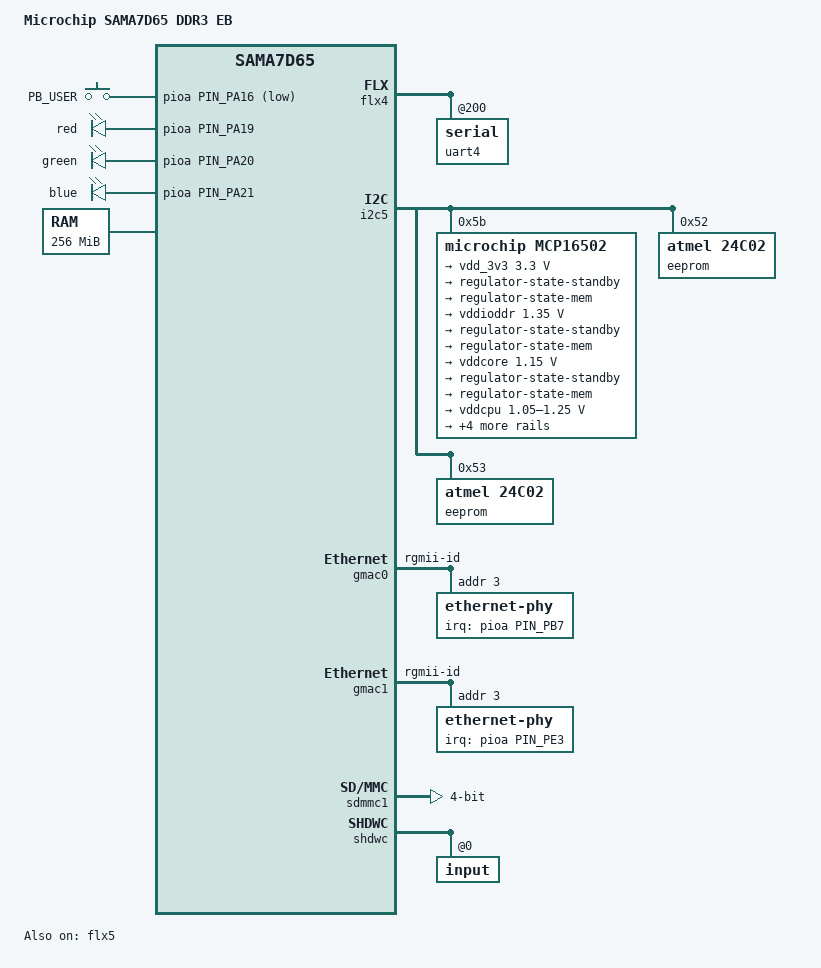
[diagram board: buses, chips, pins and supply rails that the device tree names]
// SPDX-License-Identifier: (GPL-2.0+ OR MIT)
/*
 *  at91-sama7d65eb.dts - Device Tree file for SAMA7D65EB board
 *
 *  Copyright (c) 2024 Microchip Technology Inc. and its subsidiaries
 */
/dts-v1/;
#include "sama7d65-pinfunc.h"
#include "sama7d65.dtsi"
#include <dt-bindings/mfd/atmel-flexcom.h>
#include <dt-bindings/input/input.h>
#include <dt-bindings/pinctrl/at91.h>
#include <dt-bindings/sound/microchip,pdmc.h>

/ {
	model = "Microchip SAMA7D65 DDR3 EB";
	compatible = "microchip,sama7d65-ddr3-eb", "microchip,sama7d65", "microchip,sama7";

	chosen {
		stdout-path = "serial0:115200n8";
	};

	aliases {
		serial0 = &uart4;
		i2c1 = &i2c5;
	};

	clocks {
		slow_xtal {
			clock-frequency = <32768>;
		};

		main_xtal {
			clock-frequency = <24000000>;
		};
	};

	gpio-keys {
		compatible = "gpio-keys";

		pinctrl-names = "default";
		pinctrl-0 = <&pinctrl_key_gpio_default>;

		button {
				label = "PB_USER";
				gpios = <&pioa PIN_PA16 GPIO_ACTIVE_LOW>;
				linux,code = <KEY_0>;
				wakeup-source;
		};
	};

	leds {
		compatible = "gpio-leds";
		pinctrl-names = "default";
		pinctrl-0 = <&pinctrl_led_gpio_default>;
		status = "okay"; /* Conflict with pwm. */

		red_led {
			label = "red";
			gpios = <&pioa PIN_PA19 GPIO_ACTIVE_HIGH>;
		};

		green_led {
			label = "green";
			gpios = <&pioa PIN_PA20 GPIO_ACTIVE_HIGH>;
		};

		blue_led {
			label = "blue";
			gpios = <&pioa PIN_PA21 GPIO_ACTIVE_HIGH>;
			linux,default-trigger = "heartbeat";
		};
	};

	memory@60000000 {
		device_type = "memory";
		reg = <0x60000000 0x10000000>;
	};
};

&cpu0 {
	cpu-supply = <&vddcpu>;
};

&dma0 {
	status = "okay";
};

&dma1 {
	status = "okay";
};

&dma2 {
	status = "okay";
};

&flx4 {
	atmel,flexcom-mode = <ATMEL_FLEXCOM_MODE_USART>;
	status = "okay";

	uart4: serial@200 {
		pinctrl-names = "default";
		pinctrl-0 = <&pinctrl_flx4_default>;
		status = "okay";
	};
};

&flx5 {
	atmel,flexcom-mode = <ATMEL_FLEXCOM_MODE_TWI>;
	status = "okay";

	i2c5: i2c@600 {
		pinctrl-names = "default";
		pinctrl-0 = <&pinctrl_i2c5_default>;
		i2c-analog-filter;
		i2c-digital-filter;
		i2c-digital-filter-width-ns = <35>;
		status = "okay";

		mcp16502@5b {
			compatible = "microchip,mcp16502";
			reg = <0x5b>;
			status = "okay";

			regulators {
				vdd_3v3: VDD_IO {
					regulator-name = "VDD_IO";
					regulator-min-microvolt = <3300000>;
					regulator-max-microvolt = <3300000>;
					regulator-initial-mode = <2>;
					regulator-allowed-modes = <2>, <4>;
					regulator-always-on;

					regulator-state-standby {
						regulator-on-in-suspend;
						regulator-suspend-microvolt = <3300000>;
						regulator-mode = <4>;
					};

					regulator-state-mem {
						regulator-off-in-suspend;
						regulator-mode = <4>;
					};
				};

				vddioddr: VDD_DDR {
					regulator-name = "VDD_DDR";
					regulator-min-microvolt = <1350000>;
					regulator-max-microvolt = <1350000>;
					regulator-initial-mode = <2>;
					regulator-allowed-modes = <2>, <4>;
					regulator-always-on;

					regulator-state-standby {
						regulator-on-in-suspend;
						regulator-suspend-microvolt = <1350000>;
						regulator-mode = <4>;
					};

					regulator-state-mem {
						regulator-on-in-suspend;
						regulator-suspend-microvolt = <1350000>;
						regulator-mode = <4>;
					};
				};

				vddcore: VDD_CORE {
					regulator-name = "VDD_CORE";
					regulator-min-microvolt = <1150000>;
					regulator-max-microvolt = <1150000>;
					regulator-initial-mode = <2>;
					regulator-allowed-modes = <2>, <4>;
					regulator-always-on;

					regulator-state-standby {
						regulator-on-in-suspend;
						regulator-suspend-microvolt = <1150000>;
						regulator-mode = <4>;
					};

					regulator-state-mem {
						regulator-off-in-suspend;
						regulator-mode = <4>;
					};
				};

				vddcpu: VDD_OTHER {
					regulator-name = "VDD_OTHER";
					regulator-min-microvolt = <1050000>;
					regulator-max-microvolt = <1250000>;
					regulator-initial-mode = <2>;
					regulator-allowed-modes = <2>, <4>;
					regulator-ramp-delay = <3125>;
					regulator-always-on;

					regulator-state-standby {
						regulator-on-in-suspend;
						regulator-suspend-microvolt = <1050000>;
						regulator-mode = <4>;
					};

					regulator-state-mem {
						regulator-off-in-suspend;
						regulator-mode = <4>;
					};
				};

				vldo1: LDO1 {
					regulator-name = "LDO1";
					regulator-min-microvolt = <1800000>;
					regulator-max-microvolt = <1800000>;
					regulator-always-on;

					regulator-state-standby {
						regulator-suspend-microvolt = <1800000>;
						regulator-on-in-suspend;
					};

					regulator-state-mem {
						regulator-off-in-suspend;
					};
				};

				vldo2: LDO2 {
					regulator-name = "LDO2";
					regulator-min-microvolt = <1800000>;
					regulator-max-microvolt = <1800000>;
					regulator-always-on;

					regulator-state-standby {
						regulator-suspend-microvolt = <1800000>;
						regulator-on-in-suspend;
					};

					regulator-state-mem {
						regulator-off-in-suspend;
					};
				};
			};
		};

		eeprom@52 {
			compatible = "atmel,24c02"; /* EEPROM is 2Kbits microchip 24aa025e48, an at24c02 with page size of 16 */
			reg = <0x52>;
			pagesize = <16>;
		};

		eeprom@53 {
			compatible = "atmel,24c02"; /* EEPROM is 2Kbits microchip 24aa025e48, an at24c02 with page size of 16 */
			reg = <0x53>;
			pagesize = <16>;
		};
	};
};

&gmac0 {
	#address-cells = <1>;
	#size-cells = <0>;
	pinctrl-names = "default";
	pinctrl-0 = <&pinctrl_gmac0_default
		     &pinctrl_gmac0_mdio_default
		     &pinctrl_gmac0_txck_default
		     &pinctrl_gmac0_phy_irq>;
	phy-mode = "rgmii-id";
	status = "okay";

	ethernet-phy@3 {
		reg = <0x3>;
		interrupt-parent = <&pioa>;
		interrupts = <PIN_PB7 IRQ_TYPE_LEVEL_LOW>;
		status = "okay";
	};
};

&gmac1 {
	#address-cells = <1>;
	#size-cells = <0>;
	pinctrl-names = "default";
	pinctrl-0 = <&pinctrl_gmac1_default
		     &pinctrl_gmac1_mdio_default
		     &pinctrl_gmac1_txck_default
		     &pinctrl_gmac1_phy_irq>;
	phy-mode = "rgmii-id";
	status = "okay";

	ethernet-phy@3 {
		reg = <0x3>;
		interrupt-parent = <&pioa>;
		interrupts = <PIN_PE3 IRQ_TYPE_LEVEL_LOW>;
		status = "okay";
	};
};

&pioa {
	pinctrl_flx4_default: flx4_default {
		pinmux = <PIN_PA17__FLEXCOM4_IO1>,
			 <PIN_PA18__FLEXCOM4_IO0>;
		bias-disable;
	};

	pinctrl_gmac0_default: gmac0_default {
		pinmux = <PIN_PA26__G0_TX0>,
			 <PIN_PA27__G0_TX1>,
			 <PIN_PB4__G0_TX2>,
			 <PIN_PB5__G0_TX3>,
			 <PIN_PA29__G0_RX0>,
			 <PIN_PA30__G0_RX1>,
			 <PIN_PB2__G0_RX2>,
			 <PIN_PB6__G0_RX3>,
			 <PIN_PA25__G0_TXCTL>,
			 <PIN_PB3__G0_RXCK>,
			 <PIN_PA28__G0_RXCTL>; /*no 125MHz clock*/
		slew-rate = <0>;
		bias-disable;
	};

	pinctrl_gmac0_mdio_default: gmac0_mdio_default {
		pinmux = <PIN_PA31__G0_MDC>,
			 <PIN_PB0__G0_MDIO>;
		bias-disable;
	};

	pinctrl_gmac0_txck_default: gmac0_txck_default {
		pinmux = <PIN_PB1__G0_REFCK>;
		slew-rate = <0>;
		bias-pull-up;
	};

	pinctrl_gmac0_phy_irq: gmac0_phy_irq {
		pinmux = <PIN_PB7__GPIO>;
		bias-pull-up;
	};

	pinctrl_gmac1_default: gmac1_default{
		pinmux = <PIN_PD22__G1_TX0>,
			 <PIN_PD23__G1_TX1>,
			 <PIN_PE0__G1_TX2>,
			 <PIN_PE1__G1_TX3>,
			 <PIN_PD27__G1_RX0>,
			 <PIN_PD28__G1_RX1>,
			 <PIN_PD30__G1_RX2>,
			 <PIN_PD31__G1_RX3>,
			 <PIN_PD21__G1_TXCTL>,
			 <PIN_PE2__G1_RXCK>,
			 <PIN_PD24__G1_RXCTL>; /*no 125MHz clock*/
		slew-rate = <0>;
		bias-disable;
	};

	pinctrl_gmac1_mdio_default: gmac1_mdio_default {
		pinmux = <PIN_PD25__G1_MDC>,
			 <PIN_PD26__G1_MDIO>;
		bias-disable;
	};

	pinctrl_gmac1_txck_default: gmac1_txck_default {
		pinmux = <PIN_PD29__G1_REFCK>;
		slew-rate = <0>;
		bias-pull-up;
	};

	pinctrl_gmac1_phy_irq: gmac1_phy_irq {
		pinmux = <PIN_PE3__GPIO>;
		bias-pull-up;
	};

	pinctrl_i2c5_default: i2c5_default{
		pinmux = <PIN_PD16__FLEXCOM5_IO0>,
			 <PIN_PD17__FLEXCOM5_IO1>;
		bias-disable;
	};

	pinctrl_key_gpio_default: key-gpio-default {
		pinmux = <PIN_PA16__GPIO>;
		bias-disable;
	};

	pinctrl_led_gpio_default: led_gpio_default {
		pinmux = <PIN_PA19__GPIO>,
			 <PIN_PA20__GPIO>,
			 <PIN_PA21__GPIO>;
		bias-pull-up;
	};

	pinctrl_sdmmc1_default: sdmmc1_default {
		cmd_data {
			pinmux = <PIN_PB22__SDMMC1_CMD>,
				 <PIN_PB24__SDMMC1_DAT0>,
				 <PIN_PB25__SDMMC1_DAT1>,
				 <PIN_PB26__SDMMC1_DAT2>,
				 <PIN_PB27__SDMMC1_DAT3>;
			slew-rate = <0>;
			bias-pull-up;
		};

		ck_cd_rstn_vddsel {
			pinmux = <PIN_PB23__SDMMC1_CK>,
				 <PIN_PB21__SDMMC1_RSTN>,
				 <PIN_PB30__SDMMC1_1V8SEL>,
				 <PIN_PB29__SDMMC1_CD>;
			slew-rate = <0>;
			bias-pull-up;
		};
	};
};

&rtt {
	atmel,rtt-rtc-time-reg = <&gpbr 0x0>;
};

&sdmmc1 {
	bus-width = <4>;
	no-1-8-v;
	sdhci-caps-mask = <0x0 0x00200000>;
	pinctrl-names = "default";
	pinctrl-0 = <&pinctrl_sdmmc1_default>;
	status = "okay";
};

&shdwc {
	atmel,shdwc-debouncer = <976>;
	status = "okay";

	input@0 {
		reg = <0>;
	};
};
